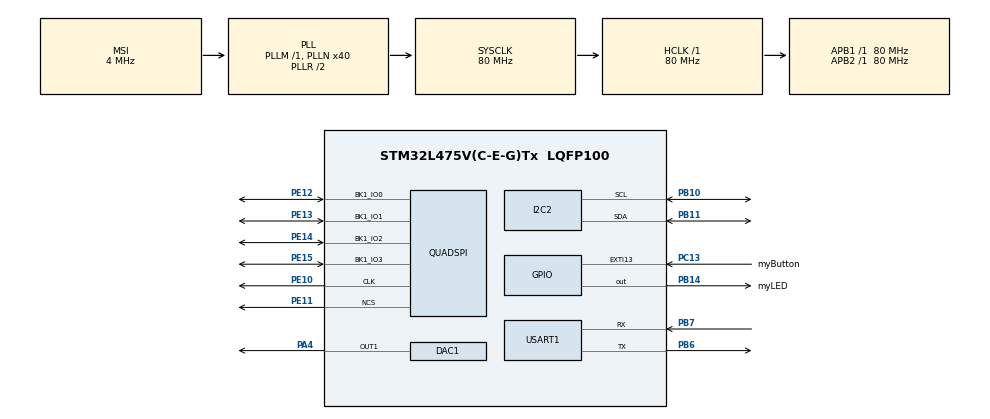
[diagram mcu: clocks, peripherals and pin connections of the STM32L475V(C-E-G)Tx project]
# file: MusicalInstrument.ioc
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DAC1.DAC_Trigger-DAC_OUT1=DAC_TRIGGER_T2_TRGO
Dma.DAC_CH1.0.Direction=DMA_MEMORY_TO_PERIPH
Dma.DAC_CH1.0.Instance=DMA1_Channel3
Dma.DAC_CH1.0.MemDataAlignment=DMA_MDATAALIGN_HALFWORD
Dma.DAC_CH1.0.MemInc=DMA_MINC_ENABLE
Dma.DAC_CH1.0.Mode=DMA_CIRCULAR
Dma.DAC_CH1.0.PeriphDataAlignment=DMA_PDATAALIGN_HALFWORD
Dma.DAC_CH1.0.PeriphInc=DMA_PINC_DISABLE
Dma.DAC_CH1.0.Priority=DMA_PRIORITY_LOW
Dma.Request0=DAC_CH1
I2C2.Timing=0x10909CEC
Mcu.Family=STM32L4
Mcu.Name=STM32L475V(C-E-G)Tx
Mcu.Package=LQFP100
NVIC.DMA1_Channel3_IRQn=true\:0\:0\:false\:false\:true\:false\:true\:true
NVIC.EXTI15_10_IRQn=true\:0\:0\:false\:false\:true\:true\:true\:true
NVIC.PriorityGroup=NVIC_PRIORITYGROUP_4
NVIC.TIM2_IRQn=true\:0\:0\:false\:false\:true\:true\:true\:true
PA4.Signal=COMP_DAC11_group
PB10.Mode=I2C
PB10.Signal=I2C2_SCL
PB11.Mode=I2C
PB11.Signal=I2C2_SDA
PB14.GPIO_Label=myLED
PB14.Signal=GPIO_Output
PB3\ (JTDO-TRACESWO).Signal=SYS_JTDO-SWO
PB6.Mode=Asynchronous
PB6.Signal=USART1_TX
PB7.Mode=Asynchronous
PB7.Signal=USART1_RX
PC13.GPIO_Label=myButton
PC13.Signal=GPXTI13
PE10.Mode=Single Bank
PE10.Signal=QUADSPI_CLK
PE11.Mode=Single Bank
PE11.Signal=QUADSPI_NCS
PE12.Mode=Single Bank
PE12.Signal=QUADSPI_BK1_IO0
PE13.Mode=Single Bank
PE13.Signal=QUADSPI_BK1_IO1
PE14.Mode=Single Bank
PE14.Signal=QUADSPI_BK1_IO2
PE15.Mode=Single Bank
PE15.Signal=QUADSPI_BK1_IO3
ProjectManager.HeapSize=0x200
ProjectManager.StackSize=0x400
ProjectManager.TargetToolchain=STM32CubeIDE
QUADSPI.ClockPrescaler-Single\ Bank=1
RCC.ADCFreq_Value=48000000
RCC.AHBFreq_Value=80000000
RCC.APB1Freq_Value=80000000
RCC.APB1TimFreq_Value=80000000
RCC.APB2Freq_Value=80000000
RCC.APB2TimFreq_Value=80000000
RCC.CortexFreq_Value=80000000
RCC.HCLKFreq_Value=80000000
RCC.HSE_VALUE=8000000
RCC.HSI_VALUE=16000000
RCC.LSE_VALUE=32768
RCC.MSI_VALUE=4000000
RCC.PLLN=40
RCC.PLLSAI1N=24
RCC.SYSCLKFreq_VALUE=80000000
RCC.SYSCLKSource=RCC_SYSCLKSOURCE_PLLCLK
RCC.USBFreq_Value=48000000
RCC.VCOOutputFreq_Value=160000000
SH.COMP_DAC11_group.0=DAC1_OUT1,DAC_OUT1
TIM2.Period=800
TIM2.TIM_MasterOutputTrigger=TIM_TRGO_UPDATE
USART1.VirtualMode-Asynchronous=VM_ASYNC
VP_TIM2_VS_ClockSourceINT.Mode=Internal
board=B-L475E-IOT01A1

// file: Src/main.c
/* USER CODE BEGIN Header */
/**
  ******************************************************************************
  * @file           : main.c
  * @brief          : Main program body
  ******************************************************************************
  * @attention
  *
  * Copyright (c) 2023 STMicroelectronics.
  * All rights reserved.
  *
  * This software is licensed under terms that can be found in the LICENSE file
  * in the root directory of this software component.
  * If no LICENSE file comes with this software, it is provided AS-IS.
  *
  ******************************************************************************
  */
/* USER CODE END Header */
#include "main.h"

/* USER CODE BEGIN Includes */
#define ARM_MATH_CM4
#include "arm_math.h"
#include <stdio.h>
#include <stm32l475e_iot01_accelero.h>
#include "stm32l475e_iot01_qspi.h"

#define pi 3.14159265359
#define WRITE_READ_ADDR  0x00

void * Addr_Start = WRITE_READ_ADDR;
void * Addr_Read = WRITE_READ_ADDR;

/* USER CODE END Includes */

/* USER CODE BEGIN PD */

int16_t accelero[3];
char buffer[100];
int volume_counter=0;

/* USER CODE END PD */

DAC_HandleTypeDef hdac1;
DMA_HandleTypeDef hdma_dac_ch1;

I2C_HandleTypeDef hi2c2;

QSPI_HandleTypeDef hqspi;

TIM_HandleTypeDef htim2;

UART_HandleTypeDef huart1;

void SystemClock_Config(void);
static void MX_GPIO_Init(void);
static void MX_DMA_Init(void);
static void MX_DAC1_Init(void);
static void MX_TIM2_Init(void);
static void MX_I2C2_Init(void);
static void MX_USART1_UART_Init(void);
static void MX_QUADSPI_Init(void);

/* USER CODE BEGIN 0 */

int isPlaying=0;
int isRecording=0;
int isPlayingRecording=0;

//C4: period=3.89ms
int phase_1=0;
int period_1=389;
uint16_t c4_vol3[389];
uint16_t c4_vol2[389];
uint16_t c4_vol1[389];

//E4: period=3.03ms
int phase_2=0;
int period_2=303;
uint16_t e4_vol3[303];
uint16_t e4_vol2[303];
uint16_t e4_vol1[303];

//G4: period=2.55ms
int phase_3=0;
int period_3=255;
uint16_t g4_vol3[255];
uint16_t g4_vol2[255];
uint16_t g4_vol1[255];

//A4: period=2.27ms
int phase_4=0;
int period_4=227;
uint16_t a4_vol3[227];
uint16_t a4_vol2[227];
uint16_t a4_vol1[227];

//C5: period=1.91ms
int phase_5=0;
int period_5=191;
uint16_t c5_vol3[191];
uint16_t c5_vol2[191];
uint16_t c5_vol1[191];

//E5: period=1.52ms
int phase_6=0;
int period_6=152;
uint16_t e5_vol3[152];
uint16_t e5_vol2[152];
uint16_t e5_vol1[152];

//G5: period=1.28ms
int phase_7=0;
int period_7=128;
uint16_t g5_vol3[128];
uint16_t g5_vol2[128];
uint16_t g5_vol1[128];

int recording[1000];
int recording_copy[1000];
int rec_count=0;

char C4_block[]= "    ";
char E4_block[]= "            ";
char G4_block[]= "                    ";
char A4_block[]= "                            ";
char C5_block[]= "                                    ";
char E5_block[]= "                                            ";
char G5_block[]= "                                                    ";

void HAL_GPIO_EXTI_Callback(uint16_t GPIO_PIN){
       if(GPIO_PIN == myButton_Pin){
         if(isPlaying==0){
                isPlaying=1;
         }else if(isPlaying==1){
                if(isRecording==0){
                      isRecording=1;
                      HAL_GPIO_TogglePin(myLED_GPIO_Port, myLED_Pin);
                }else{
                      isRecording=0;
                      isPlayingRecording=1;
                      HAL_GPIO_TogglePin(myLED_GPIO_Port, myLED_Pin);
                      HAL_DAC_Stop_DMA(&hdac1, DAC_CHANNEL_1);
                      if (BSP_QSPI_Erase_Block((uint32_t) WRITE_READ_ADDR) != QSPI_OK)
                            Error_Handler();
                            if (BSP_QSPI_Write(recording, (uint32_t) WRITE_READ_ADDR,
                      sizeof(recording)) != QSPI_OK)
                            Error_Handler();
                            if (BSP_QSPI_Read(recording_copy, (uint32_t) WRITE_READ_ADDR,
                      sizeof(recording_copy)) != QSPI_OK)
                            Error_Handler();

                      for(int i=0;i<rec_count;i++){
                             if(recording_copy[i]==1){
                                    HAL_DAC_Start_DMA(&hdac1,DAC_CHANNEL_1,c4_vol3,period_1,DAC_ALIGN_12B_R);
                             }else if(recording[i]==2){
                                    HAL_DAC_Start_DMA(&hdac1,DAC_CHANNEL_1,e4_vol3,period_2,DAC_ALIGN_12B_R);
                             }else if(recording[i]==3){
                                    HAL_DAC_Start_DMA(&hdac1,DAC_CHANNEL_1,e4_vol3,period_3,DAC_ALIGN_12B_R);
                             }else if(recording[i]==4){
                                    HAL_DAC_Start_DMA(&hdac1,DAC_CHANNEL_1,g4_vol3,period_4,DAC_ALIGN_12B_R);
                             }else if(recording[i]==5){
                                    HAL_DAC_Start_DMA(&hdac1,DAC_CHANNEL_1,a4_vol3,period_5,DAC_ALIGN_12B_R);
                             }else if(recording[i]==6){
                                    HAL_DAC_Start_DMA(&hdac1,DAC_CHANNEL_1,c5_vol3,period_6,DAC_ALIGN_12B_R);
                             }else if(recording[i]==7){
                                    HAL_DAC_Start_DMA(&hdac1,DAC_CHANNEL_1,e5_vol3,period_7,DAC_ALIGN_12B_R);
                             }
                             //HAL_Delay(500);
                             HAL_DAC_Stop_DMA(&hdac1, DAC_CHANNEL_1);
                      }
                      isPlayingRecording=0;
                      rec_count=0;
                }
         }

       } else {
              __NOP();
       }
}

/* USER CODE END 0 */

int main(void)
{

  /* MCU Configuration--------------------------------------------------------*/

  /* Reset of all peripherals, Initializes the Flash interface and the Systick. */
  HAL_Init();

  /* Configure the system clock */
  SystemClock_Config();

  /* Initialize all configured peripherals */
  MX_GPIO_Init();
  MX_DMA_Init();
  MX_DAC1_Init();
  MX_TIM2_Init();
  MX_I2C2_Init();
  MX_USART1_UART_Init();
  MX_QUADSPI_Init();
  /* USER CODE BEGIN 2 */

  BSP_QSPI_Init();
  BSP_ACCELERO_Init();
  HAL_TIM_Base_Start_IT(&htim2);
  HAL_DAC_Start(&hdac1,DAC_CHANNEL_1);

  for(int i=0;i<period_1;i++){
         float radians=2*pi*(i%period_1)/period_1;
         c4_vol1[i]=3000*(arm_sin_f32(radians)+1)/2;
         c4_vol2[i]=3500*(arm_sin_f32(radians)+1)/2;
         c4_vol3[i]=4000*(arm_sin_f32(radians)+1)/2;
  }

  for(int i=0;i<period_2;i++){
         float radians=2*pi*(i%period_2)/period_2;
         e4_vol1[i]=3000*(arm_sin_f32(radians)+1)/2;
         e4_vol2[i]=3500*(arm_sin_f32(radians)+1)/2;
      e4_vol3[i]=4000*(arm_sin_f32(radians)+1)/2;
  }

  for(int i=0;i<period_3;i++){
         float radians=2*pi*(i%period_3)/period_3;
         g4_vol1[i]=3000*(arm_sin_f32(radians)+1)/2;
         g4_vol2[i]=3500*(arm_sin_f32(radians)+1)/2;
      g4_vol3[i]=4000*(arm_sin_f32(radians)+1)/2;
  }

  for(int i=0;i<period_4;i++){
      float radians=2*pi*(i%period_4)/period_4;
      a4_vol1[i]=3000*(arm_sin_f32(radians)+1)/2;
      a4_vol2[i]=3500*(arm_sin_f32(radians)+1)/2;
      a4_vol3[i]=4000*(arm_sin_f32(radians)+1)/2;
  }

  for(int i=0;i<period_5;i++){
      float radians=2*pi*(i%period_5)/period_5;
      c5_vol1[i]=3000*(arm_sin_f32(radians)+1)/2;
      c5_vol2[i]=3500*(arm_sin_f32(radians)+1)/2;
      c5_vol3[i]=4000*(arm_sin_f32(radians)+1)/2;
  }

  for(int i=0;i<period_6;i++){
      float radians=2*pi*(i%period_6)/period_6;
      e5_vol1[i]=3000*(arm_sin_f32(radians)+1)/2;
      e5_vol2[i]=3500*(arm_sin_f32(radians)+1)/2;
      e5_vol3[i]=4000*(arm_sin_f32(radians)+1)/2;
  }

  for(int i=0;i<period_7;i++){
      float radians=2*pi*(i%period_7)/period_7;
      g5_vol1[i]=3000*(arm_sin_f32(radians)+1)/2;
      g5_vol2[i]=3500*(arm_sin_f32(radians)+1)/2;
      g5_vol3[i]=4000*(arm_sin_f32(radians)+1)/2;
  }

  /* USER CODE END 2 */

  /* Infinite loop */
  /* USER CODE BEGIN WHILE */
  while (isPlayingRecording==0)
  {
    /* USER CODE END WHILE */

    /* USER CODE BEGIN 3 */
         for(int i=0;i<100;i++){
                buffer[i]='\0';
         }

         BSP_ACCELERO_AccGetXYZ(accelero);
         int a1=accelero[0];
         int a2=accelero[1];

         for(int i=0;i<100;i++){
                buffer[i]='\0';
         }

         if(isPlaying==1 && isPlayingRecording==0){
                if(a1>875){
                       if(isRecording==1){
                             recording[rec_count]=1;
                             rec_count++;
                       }
                       switch (volume_counter){
                              case 0:
                                      HAL_DAC_Start_DMA(&hdac1,DAC_CHANNEL_1,c4_vol1,period_1,DAC_ALIGN_12B_R);
                                    break;
                              case 1:
                                     HAL_DAC_Start_DMA(&hdac1,DAC_CHANNEL_1,c4_vol2,period_1,DAC_ALIGN_12B_R);
                                     break;
                              case 2:
                                     HAL_DAC_Start_DMA(&hdac1,DAC_CHANNEL_1,c4_vol3,period_1,DAC_ALIGN_12B_R);
                                     break;
                       }
                       sprintf(buffer, "[volume:%d]%s|||||||| \r\n",(volume_counter+1),C4_block);
                }else if (525<a1 && a1<=875){
                       if(isRecording==1){
                             recording[rec_count]=2;
                             rec_count++;
                       }
                       switch (volume_counter){
                              case 0:
                                     HAL_DAC_Start_DMA(&hdac1,DAC_CHANNEL_1,e4_vol1,period_2,DAC_ALIGN_12B_R);
                                    break;
                              case 1:
                                     HAL_DAC_Start_DMA(&hdac1,DAC_CHANNEL_1,e4_vol2,period_2,DAC_ALIGN_12B_R);
                                     break;
                              case 2:
                                     HAL_DAC_Start_DMA(&hdac1,DAC_CHANNEL_1,e4_vol3,period_2,DAC_ALIGN_12B_R);
                                     break;
                       }
                       sprintf(buffer,"[volume:%d]%s|||||||| \r\n",(volume_counter+1),E4_block);
                }else if(175<a1 && a1<=525){
                       if(isRecording==1){
                             recording[rec_count]=3;
                             rec_count++;
                       }
                       switch (volume_counter){
                             case 0:
                                    HAL_DAC_Start_DMA(&hdac1,DAC_CHANNEL_1,g4_vol1,period_3,DAC_ALIGN_12B_R);
                             break;
                             case 1:
                                    HAL_DAC_Start_DMA(&hdac1,DAC_CHANNEL_1,g4_vol2,period_3,DAC_ALIGN_12B_R);
                                    break;
                             case 2:
                                    HAL_DAC_Start_DMA(&hdac1,DAC_CHANNEL_1,g4_vol3,period_3,DAC_ALIGN_12B_R);
                                    break;
                       }
                       sprintf(buffer,"[volume:%d]%s|||||||| \r\n",(volume_counter+1),G4_block);
                }else if (-175<a1 && a1<=175){
                       if(isRecording==1){
                             recording[rec_count]=4;
                             rec_count++;
                       }
                       switch (volume_counter){
                              case 0:
                                     HAL_DAC_Start_DMA(&hdac1,DAC_CHANNEL_1,a4_vol1,period_4,DAC_ALIGN_12B_R);
                                    break;
                              case 1:
                                     HAL_DAC_Start_DMA(&hdac1,DAC_CHANNEL_1,a4_vol2,period_4,DAC_ALIGN_12B_R);
                                     break;
                              case 2:
                                     HAL_DAC_Start_DMA(&hdac1,DAC_CHANNEL_1,a4_vol3,period_4,DAC_ALIGN_12B_R);
                                     break;
                       }
                       sprintf(buffer, "[volume:%d]%s|||||||| \r\n",(volume_counter+1),A4_block);
                }else if (-525<a1 && a1<=-175){
                       if(isRecording==1){
                             recording[rec_count]=5;
                             rec_count++;
                       }
                       switch (volume_counter){
                              case 0:
                                     HAL_DAC_Start_DMA(&hdac1,DAC_CHANNEL_1,c5_vol1,period_5,DAC_ALIGN_12B_R);
                                    break;
                              case 1:
                                     HAL_DAC_Start_DMA(&hdac1,DAC_CHANNEL_1,c5_vol2,period_5,DAC_ALIGN_12B_R);
                                     break;
                              case 2:
                                     HAL_DAC_Start_DMA(&hdac1,DAC_CHANNEL_1,c5_vol3,period_5,DAC_ALIGN_12B_R);
                                     break;
                       }
                       sprintf(buffer, "[volume:%d]%s|||||||| \r\n",(volume_counter+1),C5_block);
                }else if(-875<a1 && a1<=-525){\
                       if(isRecording==1){
                             recording[rec_count]=6;
                             rec_count++;
                       }
                       switch (volume_counter){
                              case 0:
                                     HAL_DAC_Start_DMA(&hdac1,DAC_CHANNEL_1,e5_vol1,period_6,DAC_ALIGN_12B_R);
                                    break;
                              case 1:
                                     HAL_DAC_Start_DMA(&hdac1,DAC_CHANNEL_1,e5_vol2,period_6,DAC_ALIGN_12B_R);
                                     break;
                              case 2:
                                     HAL_DAC_Start_DMA(&hdac1,DAC_CHANNEL_1,e5_vol3,period_6,DAC_ALIGN_12B_R);
                                     break;
                       }
                       sprintf(buffer, "[volume:%d]%s|||||||| \r\n",(volume_counter+1),E5_block);
                }else if(a1<=-875){
                       if(isRecording==1){
                             recording[rec_count]=7;
                             rec_count++;
                       }
                       switch (volume_counter){
                              case 0:
                                     HAL_DAC_Start_DMA(&hdac1,DAC_CHANNEL_1,g5_vol1,period_7,DAC_ALIGN_12B_R);
                                    break;
                              case 1:
                                     HAL_DAC_Start_DMA(&hdac1,DAC_CHANNEL_1,g5_vol2,period_7,DAC_ALIGN_12B_R);
                                     break;
                              case 2:
                                     HAL_DAC_Start_DMA(&hdac1,DAC_CHANNEL_1,g5_vol3,period_7,DAC_ALIGN_12B_R);
                                     break;
                       }
                       sprintf(buffer, "[volume:%d]%s|||||||| \r\n",(volume_counter+1),G5_block);
                }

                HAL_UART_Transmit(&huart1, (uint8_t *)&buffer, sizeof(buffer), HAL_MAX_DELAY);
                HAL_Delay(500);
                HAL_DAC_Stop_DMA(&hdac1, DAC_CHANNEL_1);
                HAL_Delay(0);

         }else if(isPlaying==0){

                if(a2>800){
                       volume_counter=(volume_counter+1)%3;
                }
                sprintf(buffer, "[volume:%d] \r\n", (volume_counter+1));
                HAL_UART_Transmit(&huart1, (uint8_t *)&buffer, sizeof(buffer), HAL_MAX_DELAY);
                HAL_Delay(2000);

         }
  }
  /* USER CODE END 3 */
}

void SystemClock_Config(void)
{
  RCC_OscInitTypeDef RCC_OscInitStruct = {0};
  RCC_ClkInitTypeDef RCC_ClkInitStruct = {0};

  /** Configure the main internal regulator output voltage
  */
  if (HAL_PWREx_ControlVoltageScaling(PWR_REGULATOR_VOLTAGE_SCALE1) != HAL_OK)
  {
    Error_Handler();
  }

  /** Initializes the RCC Oscillators according to the specified parameters
  * in the RCC_OscInitTypeDef structure.
  */
  RCC_OscInitStruct.OscillatorType = RCC_OSCILLATORTYPE_MSI;
  RCC_OscInitStruct.MSIState = RCC_MSI_ON;
  RCC_OscInitStruct.MSICalibrationValue = 0;
  RCC_OscInitStruct.MSIClockRange = RCC_MSIRANGE_6;
  RCC_OscInitStruct.PLL.PLLState = RCC_PLL_ON;
  RCC_OscInitStruct.PLL.PLLSource = RCC_PLLSOURCE_MSI;
  RCC_OscInitStruct.PLL.PLLM = 1;
  RCC_OscInitStruct.PLL.PLLN = 40;
  RCC_OscInitStruct.PLL.PLLP = RCC_PLLP_DIV7;
  RCC_OscInitStruct.PLL.PLLQ = RCC_PLLQ_DIV2;
  RCC_OscInitStruct.PLL.PLLR = RCC_PLLR_DIV2;
  if (HAL_RCC_OscConfig(&RCC_OscInitStruct) != HAL_OK)
  {
    Error_Handler();
  }

  /** Initializes the CPU, AHB and APB buses clocks
  */
  RCC_ClkInitStruct.ClockType = RCC_CLOCKTYPE_HCLK|RCC_CLOCKTYPE_SYSCLK
                              |RCC_CLOCKTYPE_PCLK1|RCC_CLOCKTYPE_PCLK2;
  RCC_ClkInitStruct.SYSCLKSource = RCC_SYSCLKSOURCE_PLLCLK;
  RCC_ClkInitStruct.AHBCLKDivider = RCC_SYSCLK_DIV1;
  RCC_ClkInitStruct.APB1CLKDivider = RCC_HCLK_DIV1;
  RCC_ClkInitStruct.APB2CLKDivider = RCC_HCLK_DIV1;

  if (HAL_RCC_ClockConfig(&RCC_ClkInitStruct, FLASH_LATENCY_4) != HAL_OK)
  {
    Error_Handler();
  }
}

static void MX_DAC1_Init(void)
{

  DAC_ChannelConfTypeDef sConfig = {0};

  /** DAC Initialization
  */
  hdac1.Instance = DAC1;
  if (HAL_DAC_Init(&hdac1) != HAL_OK)
  {
    Error_Handler();
  }

  /** DAC channel OUT1 config
  */
  sConfig.DAC_SampleAndHold = DAC_SAMPLEANDHOLD_DISABLE;
  sConfig.DAC_Trigger = DAC_TRIGGER_T2_TRGO;
  sConfig.DAC_OutputBuffer = DAC_OUTPUTBUFFER_ENABLE;
  sConfig.DAC_ConnectOnChipPeripheral = DAC_CHIPCONNECT_DISABLE;
  sConfig.DAC_UserTrimming = DAC_TRIMMING_FACTORY;
  if (HAL_DAC_ConfigChannel(&hdac1, &sConfig, DAC_CHANNEL_1) != HAL_OK)
  {
    Error_Handler();
  }

}

static void MX_I2C2_Init(void)
{

  hi2c2.Instance = I2C2;
  hi2c2.Init.Timing = 0x10909CEC;
  hi2c2.Init.OwnAddress1 = 0;
  hi2c2.Init.AddressingMode = I2C_ADDRESSINGMODE_7BIT;
  hi2c2.Init.DualAddressMode = I2C_DUALADDRESS_DISABLE;
  hi2c2.Init.OwnAddress2 = 0;
  hi2c2.Init.OwnAddress2Masks = I2C_OA2_NOMASK;
  hi2c2.Init.GeneralCallMode = I2C_GENERALCALL_DISABLE;
  hi2c2.Init.NoStretchMode = I2C_NOSTRETCH_DISABLE;
  if (HAL_I2C_Init(&hi2c2) != HAL_OK)
  {
    Error_Handler();
  }

  /** Configure Analogue filter
  */
  if (HAL_I2CEx_ConfigAnalogFilter(&hi2c2, I2C_ANALOGFILTER_ENABLE) != HAL_OK)
  {
    Error_Handler();
  }

  /** Configure Digital filter
  */
  if (HAL_I2CEx_ConfigDigitalFilter(&hi2c2, 0) != HAL_OK)
  {
    Error_Handler();
  }

}

static void MX_QUADSPI_Init(void)
{

  /* QUADSPI parameter configuration*/
  hqspi.Instance = QUADSPI;
  hqspi.Init.ClockPrescaler = 1;
  hqspi.Init.FifoThreshold = 1;
  hqspi.Init.SampleShifting = QSPI_SAMPLE_SHIFTING_NONE;
  hqspi.Init.FlashSize = 1;
  hqspi.Init.ChipSelectHighTime = QSPI_CS_HIGH_TIME_1_CYCLE;
  hqspi.Init.ClockMode = QSPI_CLOCK_MODE_0;
  if (HAL_QSPI_Init(&hqspi) != HAL_OK)
  {
    Error_Handler();
  }

}

static void MX_TIM2_Init(void)
{

  TIM_ClockConfigTypeDef sClockSourceConfig = {0};
  TIM_MasterConfigTypeDef sMasterConfig = {0};

  htim2.Instance = TIM2;
  htim2.Init.Prescaler = 0;
  htim2.Init.CounterMode = TIM_COUNTERMODE_UP;
  htim2.Init.Period = 800;
  htim2.Init.ClockDivision = TIM_CLOCKDIVISION_DIV1;
  htim2.Init.AutoReloadPreload = TIM_AUTORELOAD_PRELOAD_DISABLE;
  if (HAL_TIM_Base_Init(&htim2) != HAL_OK)
  {
    Error_Handler();
  }
  sClockSourceConfig.ClockSource = TIM_CLOCKSOURCE_INTERNAL;
  if (HAL_TIM_ConfigClockSource(&htim2, &sClockSourceConfig) != HAL_OK)
  {
    Error_Handler();
  }
  sMasterConfig.MasterOutputTrigger = TIM_TRGO_UPDATE;
  sMasterConfig.MasterSlaveMode = TIM_MASTERSLAVEMODE_DISABLE;
  if (HAL_TIMEx_MasterConfigSynchronization(&htim2, &sMasterConfig) != HAL_OK)
  {
    Error_Handler();
  }

}

static void MX_USART1_UART_Init(void)
{

  huart1.Instance = USART1;
  huart1.Init.BaudRate = 115200;
  huart1.Init.WordLength = UART_WORDLENGTH_8B;
  huart1.Init.StopBits = UART_STOPBITS_1;
  huart1.Init.Parity = UART_PARITY_NONE;
  huart1.Init.Mode = UART_MODE_TX_RX;
  huart1.Init.HwFlowCtl = UART_HWCONTROL_NONE;
  huart1.Init.OverSampling = UART_OVERSAMPLING_16;
  huart1.Init.OneBitSampling = UART_ONE_BIT_SAMPLE_DISABLE;
  huart1.AdvancedInit.AdvFeatureInit = UART_ADVFEATURE_NO_INIT;
  if (HAL_UART_Init(&huart1) != HAL_OK)
  {
    Error_Handler();
  }

}

static void MX_DMA_Init(void)
{

  /* DMA controller clock enable */
  __HAL_RCC_DMA1_CLK_ENABLE();

  /* DMA interrupt init */
  /* DMA1_Channel3_IRQn interrupt configuration */
  HAL_NVIC_SetPriority(DMA1_Channel3_IRQn, 0, 0);
  HAL_NVIC_EnableIRQ(DMA1_Channel3_IRQn);

}

static void MX_GPIO_Init(void)
{
  GPIO_InitTypeDef GPIO_InitStruct = {0};

  /* GPIO Ports Clock Enable */
  __HAL_RCC_GPIOC_CLK_ENABLE();
  __HAL_RCC_GPIOA_CLK_ENABLE();
  __HAL_RCC_GPIOE_CLK_ENABLE();
  __HAL_RCC_GPIOB_CLK_ENABLE();

  /*Configure GPIO pin Output Level */
  HAL_GPIO_WritePin(myLED_GPIO_Port, myLED_Pin, GPIO_PIN_RESET);

  /*Configure GPIO pin : myButton_Pin */
  GPIO_InitStruct.Pin = myButton_Pin;
  GPIO_InitStruct.Mode = GPIO_MODE_IT_RISING;
  GPIO_InitStruct.Pull = GPIO_NOPULL;
  HAL_GPIO_Init(myButton_GPIO_Port, &GPIO_InitStruct);

  /*Configure GPIO pin : myLED_Pin */
  GPIO_InitStruct.Pin = myLED_Pin;
  GPIO_InitStruct.Mode = GPIO_MODE_OUTPUT_PP;
  GPIO_InitStruct.Pull = GPIO_NOPULL;
  GPIO_InitStruct.Speed = GPIO_SPEED_FREQ_LOW;
  HAL_GPIO_Init(myLED_GPIO_Port, &GPIO_InitStruct);

  /* EXTI interrupt init*/
  HAL_NVIC_SetPriority(EXTI15_10_IRQn, 0, 0);
  HAL_NVIC_EnableIRQ(EXTI15_10_IRQn);

}

void Error_Handler(void)
{
  __disable_irq();
  while (1)
  {
  }
}
